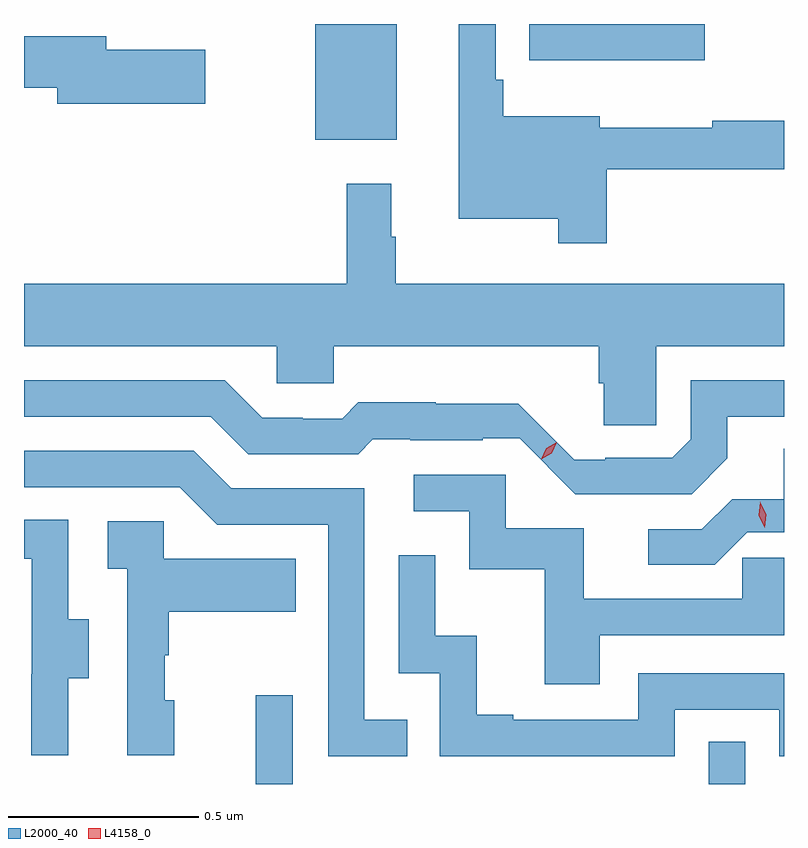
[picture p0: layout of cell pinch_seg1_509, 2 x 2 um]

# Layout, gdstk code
import gdstk
lib = gdstk.Library(unit=1e-6, precision=1e-09)
def R(c, l, rs):  # rectangles x0, y0, x1, y1
    for r in rs: c.add(gdstk.rectangle(r[:2], r[2:], *l))
def P(c, l, *ps):  # polygons
    for p in ps: c.add(gdstk.Polygon(p, *l))
L2000_40 = (2000, 40)
L4158_0 = (4158, 0)

pinch_seg1_509 = lib.new_cell('pinch_seg1_509')
R(pinch_seg1_509, L2000_40, [(1115.138,529.268,1115.235,529.501), (1116.33,529.268,1116.426,529.379), (1115.294,530.963,1115.509,531.268), (1115.858,531.173,1116.319,531.268)])
P(pinch_seg1_509, L2000_40, [(1116.062,530.886),(1116.528,530.886),(1116.528,531.014),(1116.339,531.014),(1116.339,530.995),(1116.043,530.995),(1116.043,531.025),(1115.789,531.025),(1115.789,531.121),(1115.769,531.121),(1115.769,531.268),(1115.672,531.268),(1115.672,530.756),(1115.934,530.756),(1115.934,530.691),(1116.062,530.691)],
  [(1115.005,531.2),(1114.744,531.2),(1114.744,531.236),(1114.528,531.236),(1114.528,531.1),(1114.616,531.1),(1114.616,531.058),(1115.005,531.058)],
  [(1116.192,530.42),(1116.528,530.42),(1116.528,530.584),(1115.506,530.584),(1115.506,530.708),(1115.494,530.708),(1115.494,530.848),(1115.377,530.848),(1115.377,530.584),(1114.528,530.584),(1114.528,530.42),(1115.193,530.42),(1115.193,530.322),(1115.343,530.322),(1115.343,530.42),(1116.041,530.42),(1116.041,530.322),(1116.053,530.322),(1116.053,530.212),(1116.192,530.212)],
  [(1116.379,530.125),(1116.379,530.235),(1116.528,530.235),(1116.528,530.331),(1116.282,530.331),(1116.282,530.175),(1116.234,530.127),(1116.057,530.127),(1116.057,530.121),(1115.976,530.121),(1115.828,530.269),(1115.611,530.269),(1115.611,530.272),(1115.407,530.272),(1115.365,530.229),(1115.262,530.229),(1115.262,530.232),(1115.155,530.232),(1115.056,530.331),(1114.528,530.331),(1114.528,530.235),(1115.019,530.235),(1115.118,530.136),(1115.407,530.136),(1115.446,530.175),(1115.545,530.175),(1115.545,530.172),(1115.735,530.172),(1115.735,530.178),(1115.832,530.178),(1115.979,530.031),(1116.285,530.031)],
  [(1116.431,529.931),(1116.528,529.931),(1116.528,530.15),(1116.527,530.15),(1116.527,530.018),(1116.392,530.018),(1116.312,529.938),(1116.171,529.938),(1116.171,529.845),(1116.346,529.845)],
  [(1115.537,529.437),(1115.424,529.437),(1115.424,530.046),(1115.074,530.046),(1114.975,530.145),(1114.528,530.145),(1114.528,530.049),(1114.938,530.049),(1115.037,529.95),(1115.328,529.95),(1115.328,529.341),(1115.537,529.341)],
  [(1116.043,529.659),(1116.528,529.659),(1116.528,529.864),(1116.418,529.864),(1116.418,529.755),(1116.001,529.755),(1116.001,529.941),(1115.796,529.941),(1115.796,530.082),(1115.553,530.082),(1115.553,529.986),(1115.7,529.986),(1115.7,529.833),(1115.899,529.833),(1115.899,529.53),(1116.043,529.53)],
  [(1114.645,529.546),(1114.699,529.546),(1114.699,529.701),(1114.644,529.701),(1114.644,529.964),(1114.528,529.964),(1114.528,529.861),(1114.548,529.861),(1114.548,529.557),(1114.547,529.557),(1114.547,529.344),(1114.645,529.344)],
  [(1114.924,529.488),(1114.899,529.488),(1114.899,529.607),(1114.909,529.607),(1114.909,529.721),(1115.243,529.721),(1115.243,529.861),(1114.896,529.861),(1114.896,529.959),(1114.749,529.959),(1114.749,529.835),(1114.8,529.835),(1114.8,529.344),(1114.924,529.344)],
  [(1116.24,529.464),(1116.516,529.464),(1116.516,529.341),(1116.528,529.341),(1116.528,529.56),(1116.144,529.56),(1116.144,529.437),(1115.815,529.437),(1115.815,529.45),(1115.72,529.45),(1115.72,529.658),(1115.61,529.658),(1115.61,529.87),(1115.514,529.87),(1115.514,529.56),(1115.622,529.56),(1115.622,529.341),(1116.24,529.341)])
P(pinch_seg1_509, L4158_0, [(1115.889,530.123),(1115.889,530.123),(1115.902,530.152),(1115.93,530.167),(1115.93,530.167),(1115.93,530.167),(1115.917,530.138),(1115.889,530.123)],
  [(1116.477,529.942),(1116.477,529.943),(1116.461,529.975),(1116.465,530.01),(1116.465,530.011),(1116.465,530.01),(1116.481,529.978),(1116.477,529.943)])

lib.write_gds('pinch_seg1_509.gds')
